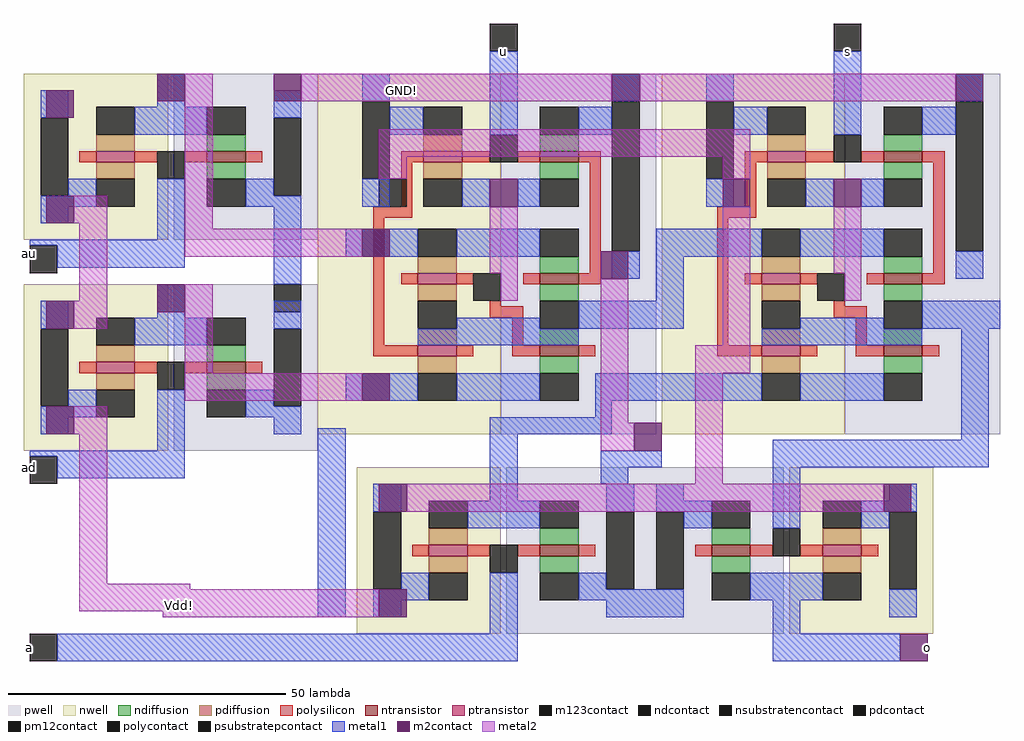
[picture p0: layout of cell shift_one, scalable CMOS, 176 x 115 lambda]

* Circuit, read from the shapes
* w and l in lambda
.subckt shift_one GND! Vdd! a ad au o s u
M1 2mux_nr_0/in0 ad GND! GND! nfet w=7 l=2
M2 2mux_nr_0/in1 au GND! GND! nfet w=7 l=2
M3 2mux_nr_1/in0 a GND! GND! nfet w=7 l=2
M4 2mux_nr_1/in1 n1 2mux_nr_0/in0 GND! nfet w=7 l=2
M5 2mux_nr_0/in1 u 2mux_nr_1/in1 GND! nfet w=7 l=2
M6 GND! u n1 GND! nfet w=7 l=2
M7 GND! inv_3/in o GND! nfet w=7 l=2
M8 inv_3/in n2 2mux_nr_1/in0 GND! nfet w=7 l=2
M9 2mux_nr_1/in1 s inv_3/in GND! nfet w=7 l=2
M10 GND! s n2 GND! nfet w=7 l=2
M11 2mux_nr_0/in0 ad Vdd! Vdd! pfet w=7 l=2
M12 2mux_nr_0/in1 au Vdd! Vdd! pfet w=7 l=2
M13 2mux_nr_1/in1 u 2mux_nr_0/in0 Vdd! pfet w=7 l=2
M14 2mux_nr_0/in1 n1 2mux_nr_1/in1 Vdd! pfet w=7 l=2
M15 Vdd! u n1 Vdd! pfet w=7 l=2
M16 2mux_nr_1/in0 a Vdd! Vdd! pfet w=7 l=2
M17 inv_3/in s 2mux_nr_1/in0 Vdd! pfet w=7 l=2
M18 2mux_nr_1/in1 n2 inv_3/in Vdd! pfet w=7 l=2
M19 Vdd! s n2 Vdd! pfet w=7 l=2
M20 Vdd! inv_3/in o Vdd! pfet w=7 l=2
.ends

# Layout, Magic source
magic
tech scmos
<< pwell >>
rect -12 28 -7 33
rect 49 28 57 33
<< metal1 >>
rect -29 33 -24 37
rect 33 33 38 37
rect -112 2 -84 3
rect -107 -2 -84 2
rect -68 -5 -63 7
rect 1 0 7 5
rect 1 -13 6 0
rect -10 -26 7 -21
rect -10 -29 -7 -26
rect -112 -36 -84 -35
rect -107 -40 -84 -36
rect -60 -65 -55 -31
rect -29 -32 -7 -29
rect -29 -39 -24 -32
rect 56 -33 61 -11
rect -9 -38 2 -35
rect 22 -38 61 -33
rect -9 -41 -4 -38
rect -5 -65 4 -60
rect -107 -73 -24 -68
rect 22 -73 45 -68
<< m2contact >>
rect -109 25 -104 30
rect -89 28 -84 33
rect -68 28 -63 33
rect -7 28 -2 33
rect 55 28 60 33
rect -109 6 -104 11
rect 13 9 18 14
rect -52 0 -47 5
rect -9 -4 -4 1
rect -109 -13 -104 -8
rect -89 -10 -84 -5
rect -52 -26 -47 -21
rect -109 -32 -104 -27
rect -3 -35 2 -30
rect -49 -46 -44 -41
rect 42 -46 47 -41
rect -49 -65 -44 -60
rect 45 -73 50 -68
<< metal2 >>
rect -104 6 -98 11
rect -103 -8 -98 6
rect -84 5 -79 33
rect -63 28 -7 33
rect -2 28 55 33
rect -49 18 18 23
rect -49 14 -44 18
rect 13 14 18 18
rect -84 0 -52 5
rect -104 -13 -98 -8
rect -84 -21 -79 -5
rect -84 -26 -52 -21
rect -104 -32 -98 -27
rect -103 -59 -98 -32
rect -9 -30 -4 -4
rect 13 -16 18 9
rect 8 -21 18 -16
rect -9 -35 -3 -30
rect 8 -41 13 -21
rect -44 -46 42 -41
rect -103 -60 -83 -59
rect -103 -64 -49 -60
rect -88 -65 -49 -64
<< m123contact >>
rect -29 37 -24 42
rect 33 37 38 42
rect -112 -3 -107 2
rect -49 9 -44 14
rect -68 -10 -63 -5
rect -112 -41 -107 -36
rect -112 -73 -107 -68
use inv  inv_3
transform 0 1 11 -1 0 -48
box -10 -13 20 40
use inv  inv_2
transform 0 -1 -13 1 0 -58
box -10 -13 20 40
use inv  inv_0
transform 0 -1 -73 1 0 13
box -10 -13 20 40
use inv  inv_1
transform 0 -1 -73 1 0 -25
box -10 -13 20 40
use 2mux_nr  2mux_nr_0
transform 1 0 -28 0 1 6
box -32 -38 29 27
use 2mux_nr  2mux_nr_1
transform 1 0 34 0 1 6
box -32 -38 29 27
<< labels >>
rlabel metal2 -45 30 -45 30 1 GND!
rlabel m2contact 50 -73 50 -68 8 o
rlabel metal1 -29 37 -24 37 5 u
rlabel metal1 -112 -2 -112 3 3 au
rlabel metal1 -112 -41 -112 -35 3 ad
rlabel metal2 -85 -63 -85 -63 1 Vdd!
rlabel metal1 -112 -73 -112 -68 2 a
rlabel metal1 33 37 38 37 5 s
<< end >>

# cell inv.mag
magic
tech scmos
<< nwell >>
rect -10 14 20 40
<< pwell >>
rect -10 -13 20 13
<< ntransistor >>
rect 4 0 6 7
<< ptransistor >>
rect 4 20 6 27
<< ndiffusion >>
rect 1 0 4 7
rect 6 0 9 7
<< pdiffusion >>
rect 1 20 4 27
rect 6 20 9 27
<< ndcontact >>
rect -4 0 1 7
rect 9 0 14 7
<< pdcontact >>
rect -4 20 1 27
rect 9 20 14 27
<< psubstratepcontact >>
rect -2 -10 12 -5
<< nsubstratencontact >>
rect -2 32 12 37
<< polysilicon >>
rect 4 27 6 30
rect 4 16 6 20
rect 4 7 6 11
rect 4 -3 6 0
<< polycontact >>
rect 1 11 6 16
<< metal1 >>
rect -7 32 -2 37
rect 12 32 17 37
rect -4 27 1 32
rect 9 16 14 20
rect -10 11 1 16
rect 9 11 20 16
rect 9 7 14 11
rect -4 -5 1 0
rect -7 -10 -2 -5
rect 12 -10 17 -5
<< labels >>
rlabel metal1 -10 11 -10 16 3 in
rlabel metal1 20 11 20 16 7 out
rlabel metal1 -5 34 -5 34 3 Vdd!
rlabel metal1 -5 -7 -5 -7 3 GND!
<< end >>

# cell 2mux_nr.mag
magic
tech scmos
<< nwell >>
rect -32 -38 1 27
<< pwell >>
rect 1 -38 29 27
<< ntransistor >>
rect 8 11 15 13
rect 8 -11 15 -9
rect 8 -24 15 -22
<< ptransistor >>
rect -13 11 -6 13
rect -14 -11 -7 -9
rect -14 -24 -7 -22
<< ndiffusion >>
rect 8 13 15 16
rect 8 8 15 11
rect 8 -9 15 -6
rect 8 -14 15 -11
rect 8 -22 15 -19
rect 8 -27 15 -24
<< pdiffusion >>
rect -13 13 -6 16
rect -13 8 -6 11
rect -14 -9 -7 -6
rect -14 -14 -7 -11
rect -14 -22 -7 -19
rect -14 -27 -7 -24
<< ndcontact >>
rect 8 16 15 21
rect 8 3 15 8
rect 8 -6 15 -1
rect 8 -19 15 -14
rect 8 -32 15 -27
<< pdcontact >>
rect -13 16 -6 21
rect -13 3 -6 8
rect -14 -6 -7 -1
rect -14 -19 -7 -14
rect -14 -32 -7 -27
<< psubstratepcontact >>
rect 21 -5 26 22
<< nsubstratencontact >>
rect -24 8 -19 22
<< polysilicon >>
rect -17 11 -13 13
rect -6 11 -1 13
rect 4 11 8 13
rect 15 11 19 13
rect -17 3 -15 11
rect -22 1 -15 3
rect -22 -22 -20 1
rect 17 -9 19 11
rect -17 -11 -14 -9
rect -7 -11 -4 -9
rect 5 -11 8 -9
rect 15 -11 19 -9
rect -1 -15 1 -14
rect -1 -17 5 -15
rect 3 -22 5 -17
rect -22 -24 -14 -22
rect -7 -24 -4 -22
rect 3 -24 8 -22
rect 15 -24 18 -22
<< polycontact >>
rect -1 11 4 16
<< metal1 >>
rect -24 22 -19 27
rect -19 16 -13 21
rect -1 16 4 27
rect 21 22 26 27
rect 15 16 21 21
rect -24 3 -19 8
rect -6 3 -1 8
rect 4 3 8 8
rect -27 -6 -14 -1
rect -7 -6 8 -1
rect 21 -10 26 -5
rect -7 -19 8 -17
rect 15 -19 29 -14
rect -14 -22 15 -19
rect -27 -32 -14 -27
rect -7 -32 8 -27
<< m2contact >>
rect -1 3 4 8
<< pm12contact >>
rect -4 -14 1 -9
<< metal2 >>
rect -1 -9 4 3
rect 1 -14 4 -9
<< labels >>
rlabel metal1 -1 27 4 27 5 s
rlabel metal1 21 27 26 27 5 GND!
rlabel metal1 29 -19 29 -14 7 out
rlabel metal1 -24 27 -19 27 5 Vdd!
rlabel metal1 -27 -6 -27 -1 3 in1
rlabel metal1 -27 -32 -27 -27 3 in0
<< end >>
